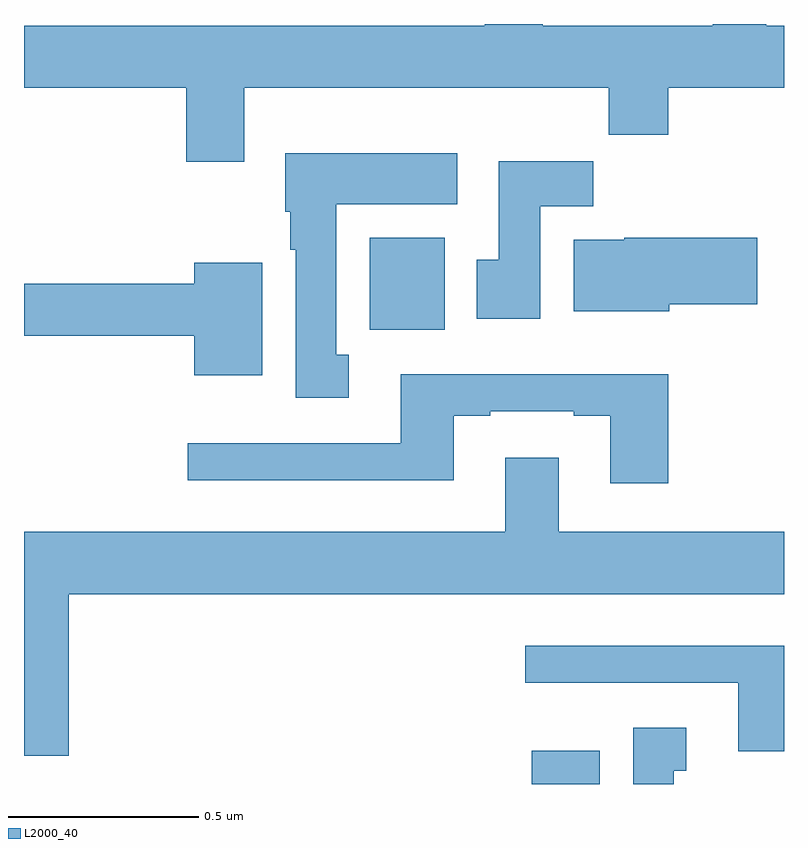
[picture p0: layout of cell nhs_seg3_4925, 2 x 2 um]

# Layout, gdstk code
import gdstk
lib = gdstk.Library(unit=1e-6, precision=1e-09)
def R(c, l, rs):  # rectangles x0, y0, x1, y1
    for r in rs: c.add(gdstk.rectangle(r[:2], r[2:], *l))
def P(c, l, *ps):  # polygons
    for p in ps: c.add(gdstk.Polygon(p, *l))
L2000_40 = (2000, 40)

nhs_seg3_4925 = lib.new_cell('nhs_seg3_4925')
R(nhs_seg3_4925, L2000_40, [(173.336,716.4,173.515,716.488), (172.91,717.596,173.107,717.838)])
P(nhs_seg3_4925, L2000_40, [(172.579,718.232),(173.539,718.232),(173.539,718.108),(173.696,718.108),(173.696,718.232),(174,718.232),(174,718.396),(173.953,718.396),(173.953,718.4),(173.813,718.4),(173.813,718.396),(173.365,718.396),(173.365,718.4),(173.213,718.4),(173.213,718.396),(172,718.396),(172,718.232),(172.427,718.232),(172.427,718.038),(172.579,718.038)],
  [(172.855,717.53),(172.822,717.53),(172.822,717.926),(173.14,717.926),(173.14,718.06),(172.688,718.06),(172.688,717.906),(172.7,717.906),(172.7,717.806),(172.715,717.806),(172.715,717.417),(172.855,717.417)],
  [(173.359,717.92),(173.498,717.92),(173.498,718.039),(173.249,718.039),(173.249,717.78),(173.192,717.78),(173.192,717.624),(173.359,717.624)],
  [(173.698,717.662),(173.929,717.662),(173.929,717.838),(173.58,717.838),(173.58,717.832),(173.447,717.832),(173.447,717.644),(173.698,717.644)],
  [(172.627,717.772),(172.448,717.772),(172.448,717.716),(172,717.716),(172,717.58),(172.448,717.58),(172.448,717.476),(172.627,717.476)],
  [(173.696,717.478),(172.991,717.478),(172.991,717.297),(172.431,717.297),(172.431,717.2),(173.131,717.2),(173.131,717.369),(173.227,717.369),(173.227,717.381),(173.447,717.381),(173.447,717.369),(173.543,717.369),(173.543,717.192),(173.696,717.192)],
  [(172.118,716.9),(174,716.9),(174,717.064),(173.407,717.064),(173.407,717.259),(173.267,717.259),(173.267,717.064),(172,717.064),(172,716.475),(172.118,716.475)],
  [(174,716.764),(173.319,716.764),(173.319,716.667),(173.879,716.667),(173.879,716.486),(174,716.486)],
  [(173.71,716.435),(173.743,716.435),(173.743,716.548),(173.603,716.548),(173.603,716.4),(173.71,716.4)])

lib.write_gds('nhs_seg3_4925.gds')
